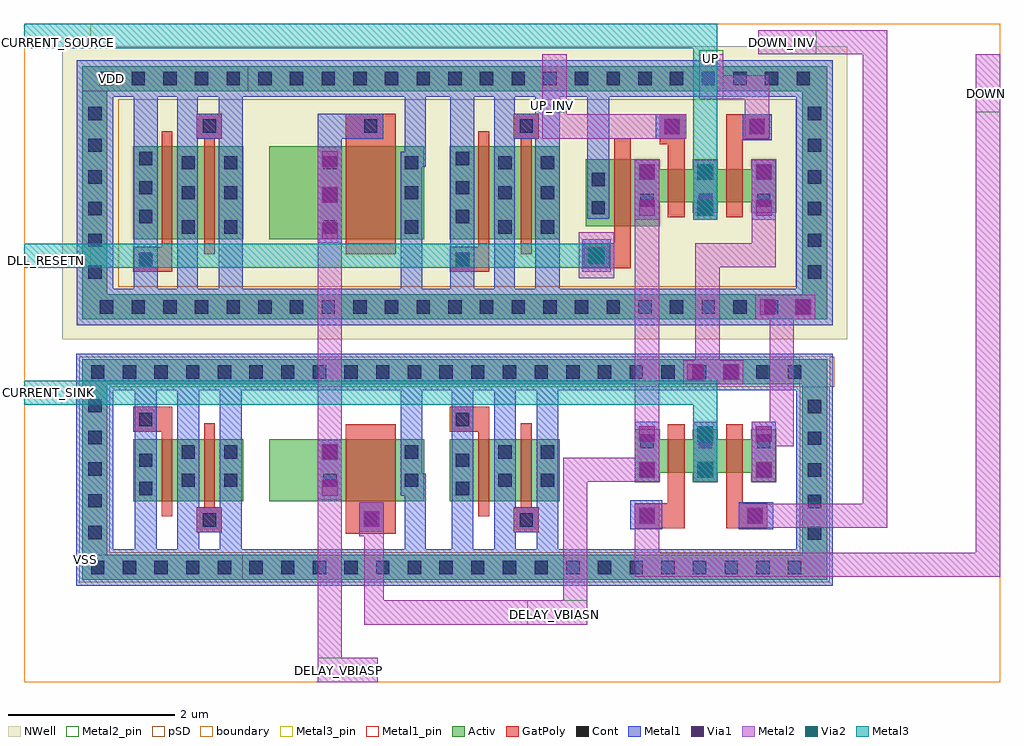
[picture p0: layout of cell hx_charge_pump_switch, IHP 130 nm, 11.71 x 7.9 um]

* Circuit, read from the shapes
.subckt hx_charge_pump_switch CURRENT_SINK CURRENT_SOURCE DELAY_VBIASN DELAY_VBIASP DLL_RESETN DOWN DOWN_INV UP UP_INV VDD VSS
XM1 VSS VSS VSS VSS sg13_lv_nmos w=0.74u l=0.13u m=4
XM2 VSS DELAY_VBIASN DELAY_VBIASP VSS sg13_lv_nmos w=0.74u l=0.6u
XM3 CURRENT_SINK DOWN DELAY_VBIASN VSS sg13_lv_nmos w=0.4u l=0.2u
XM4 VDD DOWN_INV CURRENT_SINK VSS sg13_lv_nmos w=0.4u l=0.2u
XM5 VDD VDD VDD VDD sg13_lv_pmos w=1.12u l=0.13u m=4
XM6 VDD DELAY_VBIASP DELAY_VBIASP VDD sg13_lv_pmos w=1.12u l=0.6u
XM7 DELAY_VBIASN DLL_RESETN VDD VDD sg13_lv_pmos w=0.8u l=0.2u
XM8 CURRENT_SOURCE UP_INV DELAY_VBIASN VDD sg13_lv_pmos w=0.4u l=0.2u
XM9 VSS UP CURRENT_SOURCE VDD sg13_lv_pmos w=0.4u l=0.2u
.ends

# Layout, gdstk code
import gdstk
lib = gdstk.Library(unit=1e-6, precision=1e-09)
def R(c, l, rs):  # rectangles x0, y0, x1, y1
    for r in rs: c.add(gdstk.rectangle(r[:2], r[2:], *l))
def A(c, l, x, y, w, h, nx, ny, dx, dy):  # array of equal rectangles
    R(c, l, [(x+i*dx, y+j*dy, x+i*dx+w, y+j*dy+h) for i in range(nx) for j in range(ny)])
def P(c, l, *ps):  # polygons
    for p in ps: c.add(gdstk.Polygon(p, *l))
Activ = (1, 0)
GatPoly = (5, 0)
Cont = (6, 0)
Metal1 = (8, 0)
Metal1_pin = (8, 2)
Metal2 = (10, 0)
Metal2_pin = (10, 2)
pSD = (14, 0)
Via1 = (19, 0)
Via2 = (29, 0)
Metal3 = (30, 0)
Metal3_pin = (30, 2)
NWell = (31, 0)
boundary = (189, 4)

hx_charge_pump_switch = lib.new_cell('hx_charge_pump_switch')
R(hx_charge_pump_switch, Activ, [(1.31,2.17,2.63,2.91), (2.94,2.17,4.8,2.91), (5.11,2.17,6.43,2.91), (1.31,5.31,2.63,6.43), (2.94,5.31,4.8,6.43), (5.11,5.31,6.43,6.43)])
P(hx_charge_pump_switch, Activ, [(6.74,5.47),(6.74,6.27),(7.625,6.27),(7.625,6.155),(8.025,6.155),(8.025,6.27),(8.325,6.27),(8.325,6.155),(8.725,6.155),(8.725,6.27),(9.025,6.27),(9.025,5.63),(8.725,5.63),(8.725,5.755),(8.325,5.755),(8.325,5.63),(8.025,5.63),(8.025,5.755),(7.625,5.755),(7.625,5.47)],
  [(0.7,1.225),(0.7,3.87),(9.635,3.87),(9.635,3.57),(1,3.57),(1,1.525),(9.335,1.525),(9.335,3.57),(9.635,3.57),(9.635,1.225)],
  [(0.7,4.35),(0.7,7.39),(9.635,7.39),(9.635,7.09),(1,7.09),(1,4.65),(9.335,4.65),(9.335,7.09),(9.635,7.09),(9.635,4.35)],
  [(7.325,2.395),(7.325,3.035),(7.625,3.035),(7.625,2.91),(8.025,2.91),(8.025,3.035),(8.325,3.035),(8.325,2.91),(8.725,2.91),(8.725,3.035),(9.025,3.035),(9.025,2.395),(8.725,2.395),(8.725,2.51),(8.325,2.51),(8.325,2.395),(8.025,2.395),(8.025,2.51),(7.625,2.51),(7.625,2.395)])
R(hx_charge_pump_switch, GatPoly, [(3.86,1.78,4.46,3.09), (3.86,5.13,4.46,6.82)])
P(hx_charge_pump_switch, GatPoly, [(6.715,4.965),(6.715,5.265),(7.08,5.265),(7.08,6.52),(7.28,6.52),(7.28,4.965)],
  [(7.725,5.575),(7.725,6.45),(7.625,6.45),(7.625,6.815),(7.925,6.815),(7.925,5.575)],
  [(8.425,5.575),(8.425,6.815),(8.945,6.815),(8.945,6.515),(8.625,6.515),(8.625,5.575)],
  [(8.425,1.845),(8.425,3.09),(8.625,3.09),(8.625,2.145),(8.92,2.145),(8.92,1.845)],
  [(7.325,1.845),(7.325,2.145),(7.725,2.145),(7.725,3.09),(7.925,3.09),(7.925,1.845)],
  [(2.075,1.795),(2.075,2.095),(2.16,2.095),(2.16,3.105),(2.29,3.105),(2.29,2.095),(2.375,2.095),(2.375,1.795)],
  [(1.65,1.99),(1.65,3),(1.31,3),(1.31,3.3),(1.78,3.3),(1.78,1.99)],
  [(2.16,5.13),(2.16,6.52),(2.075,6.52),(2.075,6.82),(2.375,6.82),(2.375,6.52),(2.29,6.52),(2.29,5.13)],
  [(1.31,4.92),(1.31,5.22),(1.65,5.22),(1.65,6.61),(1.78,6.61),(1.78,4.92)],
  [(5.11,4.92),(5.11,5.22),(5.45,5.22),(5.45,6.61),(5.58,6.61),(5.58,4.92)],
  [(5.96,5.13),(5.96,6.52),(5.875,6.52),(5.875,6.82),(6.175,6.82),(6.175,6.52),(6.09,6.52),(6.09,5.13)],
  [(5.45,1.99),(5.45,3),(5.11,3),(5.11,3.3),(5.58,3.3),(5.58,1.99)],
  [(5.875,1.795),(5.875,2.095),(5.96,2.095),(5.96,3.105),(6.09,3.105),(6.09,2.095),(6.175,2.095),(6.175,1.795)])
A(hx_charge_pump_switch, Cont, 0.805, 1.295, 0.16, 0.16, 23, 2, 0.38, 2.345)
A(hx_charge_pump_switch, Cont, 9.405, 1.705, 0.16, 0.16, 1, 5, 0, 0.38)
A(hx_charge_pump_switch, Cont, 0.77, 1.715, 0.16, 0.16, 1, 5, 0, 0.38)
A(hx_charge_pump_switch, Cont, 7.395, 2.465, 0.16, 0.16, 3, 2, 0.7, 0.34)
A(hx_charge_pump_switch, Cont, 0.91, 4.42, 0.16, 0.16, 23, 2, 0.38, 2.74)
A(hx_charge_pump_switch, Cont, 0.77, 4.84, 0.16, 0.16, 1, 6, 0, 0.38)
A(hx_charge_pump_switch, Cont, 9.405, 4.84, 0.16, 0.16, 1, 6, 0, 0.38)
A(hx_charge_pump_switch, Cont, 3.59, 5.38, 0.16, 0.16, 1, 3, 0, 0.385)
A(hx_charge_pump_switch, Cont, 7.395, 5.7, 0.16, 0.16, 3, 2, 0.7, 0.34)
R(hx_charge_pump_switch, Cont, [(2.145,1.865,2.305,2.025), (5.945,1.865,6.105,2.025), (4.08,1.87,4.24,2.03), (7.395,1.915,7.555,2.075), (8.69,1.915,8.85,2.075), (1.38,2.24,1.54,2.4), (5.18,2.24,5.34,2.4), (1.89,2.34,2.05,2.5), (2.4,2.34,2.56,2.5), (3.59,2.34,3.75,2.5), (4.57,2.34,4.73,2.5), (5.69,2.34,5.85,2.5), (6.2,2.34,6.36,2.5), (1.38,2.58,1.54,2.74), (5.18,2.58,5.34,2.74), (1.89,2.68,2.05,2.84), (2.4,2.68,2.56,2.84), (3.59,2.68,3.75,2.84), (4.57,2.68,4.73,2.84), (5.69,2.68,5.85,2.84), (6.2,2.68,6.36,2.84), (1.38,3.07,1.54,3.23), (5.18,3.07,5.34,3.23), (1.38,4.99,1.54,5.15), (5.18,4.99,5.34,5.15), (6.785,5.035,6.945,5.195), (1.89,5.38,2.05,5.54), (2.4,5.38,2.56,5.54), (4.57,5.38,4.73,5.54), (5.69,5.38,5.85,5.54), (6.2,5.38,6.36,5.54), (1.38,5.505,1.54,5.665), (5.18,5.505,5.34,5.665), (6.81,5.61,6.97,5.77), (1.89,5.79,2.05,5.95), (2.4,5.79,2.56,5.95), (4.57,5.79,4.73,5.95), (5.69,5.79,5.85,5.95), (6.2,5.79,6.36,5.95), (1.38,5.85,1.54,6.01), (5.18,5.85,5.34,6.01), (6.81,5.95,6.97,6.11), (1.89,6.15,2.05,6.31), (2.4,6.15,2.56,6.31), (4.57,6.15,4.73,6.31), (5.69,6.15,5.85,6.31), (6.2,6.15,6.36,6.31), (1.38,6.2,1.54,6.36), (5.18,6.2,5.34,6.36), (7.695,6.585,7.855,6.745), (8.715,6.585,8.875,6.745), (2.145,6.59,2.305,6.75), (4.08,6.59,4.24,6.75), (5.945,6.59,6.105,6.75)])
A(hx_charge_pump_switch, Metal1, 7.33, 2.4, 0.29, 0.72, 3, 2, 0.7, 3.145)
R(hx_charge_pump_switch, Metal1, [(1.33,1.595,1.59,3.5), (5.13,1.595,5.39,3.5), (4.025,1.8,4.315,2.155), (7.275,1.835,7.66,2.18), (8.575,1.835,8.99,2.155), (3.525,2.185,3.815,2.905), (8.73,2.4,9.02,3.12), (1.315,4.72,1.605,7.02), (5.115,4.72,5.405,7.02), (6.7,4.92,7.04,5.315), (6.76,5.56,7.02,7.02), (8.625,6.5,8.97,6.815), (7.58,6.52,7.945,6.81)])
P(hx_charge_pump_switch, Metal1, [(0.625,1.155),(0.625,3.94),(9.265,3.94),(9.265,3.5),(1.07,3.5),(1.07,1.595),(9.265,1.595),(9.265,3.94),(9.705,3.94),(9.705,1.155)],
  [(0.63,4.28),(0.63,7.46),(9.265,7.46),(9.265,7.02),(1.07,7.02),(1.07,4.72),(9.265,4.72),(9.265,7.46),(9.705,7.46),(9.705,4.28)],
  [(4.52,4.72),(4.52,6.36),(4.57,6.36),(4.57,7.02),(4.82,7.02),(4.82,6.18),(4.78,6.18),(4.78,4.72)],
  [(4.57,1.595),(4.57,2.235),(4.52,2.235),(4.52,3.5),(4.78,3.5),(4.78,2.5),(4.82,2.5),(4.82,1.595)],
  [(3.525,5.27),(3.525,6.82),(4.31,6.82),(4.31,6.52),(3.815,6.52),(3.815,5.27)],
  [(1.84,4.72),(1.84,7.02),(2.085,7.02),(2.085,6.82),(2.335,6.82),(2.335,7.02),(2.625,7.02),(2.625,4.72),(2.335,4.72),(2.335,6.52),(2.085,6.52),(2.085,4.72)],
  [(1.84,1.595),(1.84,3.5),(2.1,3.5),(2.1,2.095),(2.35,2.095),(2.35,3.5),(2.61,3.5),(2.61,1.595),(2.35,1.595),(2.35,1.795),(2.1,1.795),(2.1,1.595)],
  [(5.64,1.595),(5.64,3.5),(5.9,3.5),(5.9,2.095),(6.15,2.095),(6.15,3.5),(6.41,3.5),(6.41,1.595),(6.15,1.595),(6.15,1.795),(5.9,1.795),(5.9,1.595)],
  [(5.64,4.72),(5.64,7.02),(5.885,7.02),(5.885,6.82),(6.135,6.82),(6.135,7.02),(6.425,7.02),(6.425,4.72),(6.135,4.72),(6.135,6.52),(5.885,6.52),(5.885,4.72)])
R(hx_charge_pump_switch, Metal1_pin, [(0.7,1.225,2.625,1.525), (0.7,7.09,2.69,7.39)])
R(hx_charge_pump_switch, Metal2, [(8.03,2.4,8.32,3.12), (6.655,4.845,7.08,5.395), (8.03,5.545,8.32,6.265)])
P(hx_charge_pump_switch, Metal2, [(4.08,0.69),(4.08,1.75),(4.025,1.75),(4.025,2.155),(4.315,2.155),(4.315,0.98),(6.47,0.98),(6.47,2.69),(7.33,2.69),(7.33,6.265),(7.62,6.265),(7.62,2.4),(6.76,2.4),(6.76,0.69)],
  [(6.22,6.52),(6.22,7.53),(6.51,7.53),(6.51,6.81),(7.945,6.81),(7.945,6.52)],
  [(8.65,6.52),(8.65,6.99),(8.1,6.99),(8.1,7.53),(8.39,7.53),(8.39,7.28),(8.94,7.28),(8.94,6.52)],
  [(7.91,3.57),(7.91,3.86),(8.055,3.86),(8.055,5.265),(8.73,5.265),(8.73,6.265),(9.02,6.265),(9.02,4.975),(8.345,4.975),(8.345,3.86),(8.63,3.86),(8.63,3.57)],
  [(8.73,2.4),(8.73,3.12),(8.945,3.12),(8.945,4.355),(8.775,4.355),(8.775,4.645),(9.495,4.645),(9.495,4.355),(9.235,4.355),(9.235,2.83),(9.02,2.83),(9.02,2.4)],
  [(8.575,1.85),(8.575,2.14),(10.065,2.14),(10.065,7.53),(8.81,7.53),(8.81,7.82),(10.355,7.82),(10.355,1.85)],
  [(7.33,1.26),(7.33,2.14),(7.62,2.14),(7.62,1.55),(11.42,1.55),(11.42,7.53),(11.71,7.53),(11.71,1.26)],
  [(3.525,0),(3.525,6.42),(3.815,6.42),(3.815,0.29),(4.245,0.29),(4.245,0)])
R(hx_charge_pump_switch, Metal2_pin, [(3.525,0,4.245,0.29), (6.04,0.69,6.76,0.98), (6.22,6.835,6.51,7.53), (11.42,6.835,11.71,7.53), (8.1,6.99,8.39,7.58), (8.81,7.53,9.505,7.82)])
R(hx_charge_pump_switch, pSD, [(1.13,4.745,9.265,6.99)])
P(hx_charge_pump_switch, pSD, [(0.665,1.195),(0.665,3.9),(9.72,3.9),(9.72,3.54),(1.03,3.54),(1.03,1.555),(9.305,1.555),(9.305,3.9),(9.665,3.9),(9.665,1.195)])
A(hx_charge_pump_switch, Via1, 7.38, 2.45, 0.19, 0.19, 3, 2, 0.7, 0.43)
A(hx_charge_pump_switch, Via1, 3.575, 5.32, 0.19, 0.19, 1, 3, 0, 0.43)
A(hx_charge_pump_switch, Via1, 7.38, 5.595, 0.19, 0.19, 3, 2, 0.7, 0.43)
R(hx_charge_pump_switch, Via1, [(4.075,1.86,4.265,2.05), (7.38,1.9,7.57,2.09), (8.675,1.9,8.865,2.09), (3.575,2.235,3.765,2.425), (3.575,2.665,3.765,2.855), (7.96,3.625,8.15,3.815), (8.39,3.625,8.58,3.815), (8.825,4.405,9.015,4.595), (9.255,4.405,9.445,4.595), (6.77,5.02,6.96,5.21), (7.68,6.57,7.87,6.76), (8.7,6.57,8.89,6.76)])
R(hx_charge_pump_switch, Via2, [(8.08,2.45,8.27,2.64), (8.08,2.88,8.27,3.07), (6.77,5.02,6.96,5.21), (8.08,5.595,8.27,5.785), (8.08,6.025,8.27,6.215)])
R(hx_charge_pump_switch, Metal3, [(0,4.97,7.025,5.26)])
P(hx_charge_pump_switch, Metal3, [(8.03,5.545),(8.03,7.605),(0,7.605),(0,7.895),(8.32,7.895),(8.32,5.545)],
  [(8.03,2.4),(8.03,3.325),(0,3.325),(0,3.615),(8.32,3.615),(8.32,2.4)])
R(hx_charge_pump_switch, Metal3_pin, [(0,3.325,0.8,3.615), (0,4.97,0.8,5.26), (0,7.605,0.8,7.895)])
R(hx_charge_pump_switch, NWell, [(0.46,4.11,9.875,7.63)])
R(hx_charge_pump_switch, boundary, [(0,0,11.71,7.895)])
hx_charge_pump_switch.add(gdstk.Label('VSS', (0.74,1.465), layer=8, texttype=25))
hx_charge_pump_switch.add(gdstk.Label('VDD', (1.055,7.235), layer=8, texttype=25))
hx_charge_pump_switch.add(gdstk.Label('UP_INV', (6.34,6.92), layer=10, texttype=25))
hx_charge_pump_switch.add(gdstk.Label('DOWN', (11.545,7.065), layer=10, texttype=25))
hx_charge_pump_switch.add(gdstk.Label('DOWN_INV', (9.085,7.675), layer=10, texttype=25))
hx_charge_pump_switch.add(gdstk.Label('UP', (8.235,7.485), layer=10, texttype=25))
hx_charge_pump_switch.add(gdstk.Label('DELAY_VBIASP', (3.775,0.135), layer=10, texttype=25))
hx_charge_pump_switch.add(gdstk.Label('DELAY_VBIASN', (6.36,0.81), layer=10, texttype=25))
hx_charge_pump_switch.add(gdstk.Label('CURRENT_SOURCE', (0.355,7.67), layer=30, texttype=25))
hx_charge_pump_switch.add(gdstk.Label('CURRENT_SINK', (0.1,3.47), layer=30, texttype=25))
hx_charge_pump_switch.add(gdstk.Label('DLL_RESETN', (0.27,5.061), layer=30, texttype=25))

lib.write_gds('hx_charge_pump_switch.gds')
